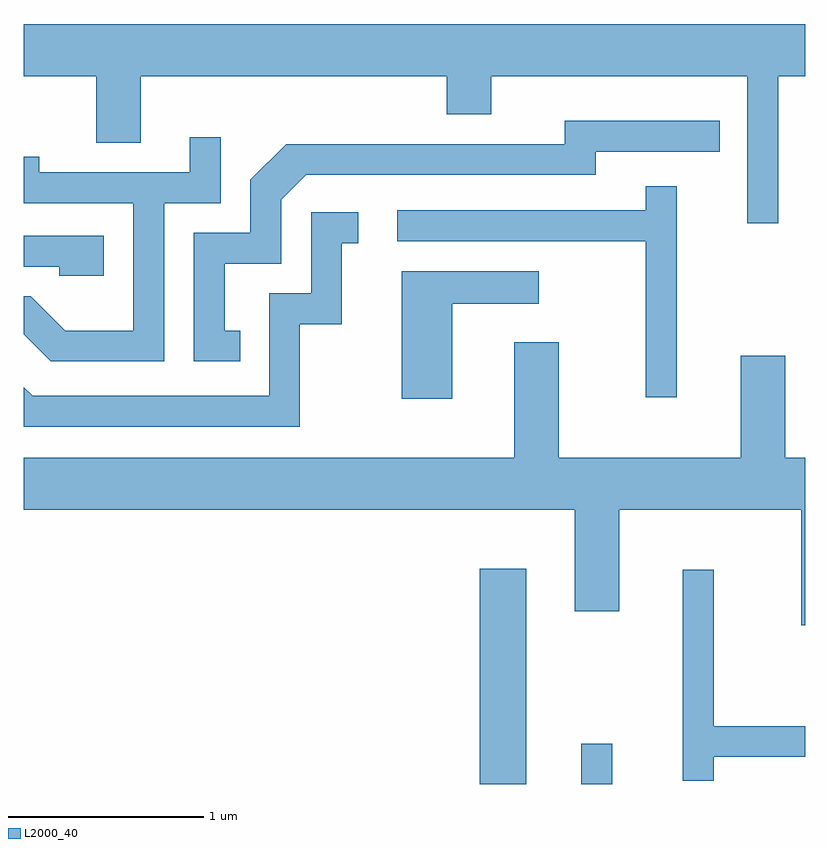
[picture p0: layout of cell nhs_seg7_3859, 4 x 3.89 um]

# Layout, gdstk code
import gdstk
lib = gdstk.Library(unit=1e-6, precision=1e-09)
def R(c, l, rs):  # rectangles x0, y0, x1, y1
    for r in rs: c.add(gdstk.rectangle(r[:2], r[2:], *l))
def P(c, l, *ps):  # polygons
    for p in ps: c.add(gdstk.Polygon(p, *l))
L2000_40 = (2000, 40)

nhs_seg7_3859 = lib.new_cell('nhs_seg7_3859')
R(nhs_seg7_3859, L2000_40, [(305.946,1706.252,306.184,1707.354), (306.466,1706.252,306.624,1706.458)])
P(nhs_seg7_3859, L2000_40, [(307.474,1709.876),(307.611,1709.876),(307.611,1710.144),(303.611,1710.144),(303.611,1709.876),(303.981,1709.876),(303.981,1709.536),(304.209,1709.536),(304.209,1709.876),(305.776,1709.876),(305.776,1709.681),(306.004,1709.681),(306.004,1709.876),(307.316,1709.876),(307.316,1709.123),(307.474,1709.123)],
  [(304.718,1708.574),(304.639,1708.574),(304.639,1708.916),(304.929,1708.916),(304.929,1709.244),(305.057,1709.371),(306.539,1709.371),(306.539,1709.491),(307.173,1709.491),(307.173,1709.649),(306.381,1709.649),(306.381,1709.529),(304.954,1709.529),(304.771,1709.347),(304.771,1709.074),(304.481,1709.074),(304.481,1708.416),(304.718,1708.416)],
  [(304.329,1709.226),(304.619,1709.226),(304.619,1709.563),(304.461,1709.563),(304.461,1709.384),(303.689,1709.384),(303.689,1709.463),(303.611,1709.463),(303.611,1709.226),(304.171,1709.226),(304.171,1708.574),(303.822,1708.574),(303.647,1708.749),(303.611,1708.749),(303.611,1708.554),(303.749,1708.416),(304.329,1708.416)],
  [(306.954,1709.313),(306.796,1709.313),(306.796,1709.189),(305.523,1709.189),(305.523,1709.031),(306.796,1709.031),(306.796,1708.233),(306.954,1708.233)],
  [(305.024,1708.606),(305.239,1708.606),(305.239,1709.021),(305.323,1709.021),(305.323,1709.179),(305.081,1709.179),(305.081,1708.764),(304.866,1708.764),(304.866,1708.239),(303.657,1708.239),(303.611,1708.285),(303.611,1708.081),(305.024,1708.081)],
  [(304.019,1709.059),(303.611,1709.059),(303.611,1708.901),(303.791,1708.901),(303.791,1708.856),(304.019,1708.856)],
  [(305.804,1708.711),(306.248,1708.711),(306.248,1708.879),(305.546,1708.879),(305.546,1708.226),(305.804,1708.226)],
  [(307.509,1708.444),(307.281,1708.444),(307.281,1707.924),(306.349,1707.924),(306.349,1708.514),(306.121,1708.514),(306.121,1707.924),(303.611,1707.924),(303.611,1707.656),(306.431,1707.656),(306.431,1707.136),(306.659,1707.136),(306.659,1707.656),(307.591,1707.656),(307.591,1707.066),(307.611,1707.066),(307.611,1707.924),(307.509,1707.924)],
  [(307.144,1706.391),(307.611,1706.391),(307.611,1706.549),(307.144,1706.549),(307.144,1707.348),(306.986,1707.348),(306.986,1706.268),(307.144,1706.268)])

lib.write_gds('nhs_seg7_3859.gds')
